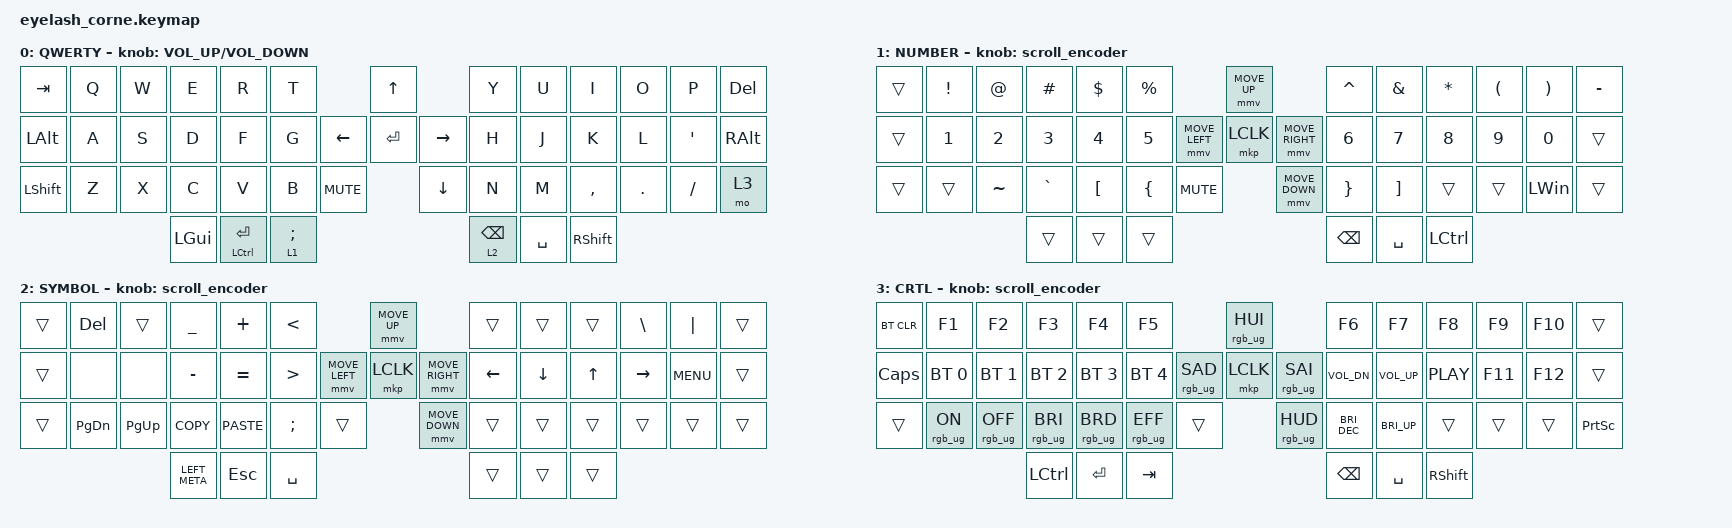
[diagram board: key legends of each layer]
#include <dt-bindings/zmk/mouse.h>
#include <input/processors.dtsi>
#include <behaviors.dtsi>
#include <dt-bindings/zmk/bt.h>
#include <dt-bindings/zmk/keys.h>
#include <dt-bindings/zmk/pointing.h>
#include <dt-bindings/zmk/rgb.h>

/*

   &mmv_input_listener {
       input-processors = <&zip_xy_scaler 2 1>;
   };

   &msc_input_listener {
       input-processors = <&zip_xy_scaler 2 1>;
   };

 */

#define ZMK_MOUSE_DEFAULT_MOVE_VAL 1200  // 600
#define ZMK_MOUSE_DEFAULT_SCRL_VAL 20    // 10

/ {
    behaviors {
        td0: td0 {
            compatible = "zmk,behavior-tap-dance";
            display-name = "Shift/Caps Lock Tap Dance";
            #binding-cells = <0>;
            bindings = <&kp LEFT_SHIFT>, <&kp CAPS>;
        };

        lthp: lthp {
            compatible = "zmk,behavior-hold-tap";
            label = "Layer/Tap Hold prefered";
            bindings = <&mo>, <&kp>;

            #binding-cells = <2>;
            tapping-term-ms = <200>;
        };

        ltba: ltba {
            compatible = "zmk,behavior-hold-tap";
            label = "Layer/tap balanced";
            bindings = <&mo>, <&kp>;

            #binding-cells = <2>;
            tapping-term-ms = <200>;
            flavor = "balanced";
        };

        mo_right_hand: mo_right_hand {
            compatible = "zmk,behavior-hold-tap";
            label = "MO_RIGHT_HAND";
            bindings = <&mo>, <&kp>;

            #binding-cells = <2>;
            tapping-term-ms = <130>;
            flavor = "tap-preferred";
            quick-tap-ms = <100>;
            require-prior-idle-ms = <80>;
            hold-trigger-key-positions = <16 17 18 5 4 3>;
        };
    };

    rgb_encoder: rgb_encoder {
        compatible = "zmk,behavior-sensor-rotate";
        #sensor-binding-cells = <0>;
        bindings = <&rgb_ug RGB_BRI>, <&rgb_ug RGB_BRD>;
    };

    scroll_encoder: scroll_encoder {
        compatible = "zmk,behavior-sensor-rotate";
        #sensor-binding-cells = <0>;
        bindings = <&msc SCRL_DOWN>, <&msc SCRL_UP>;

        tap-ms = <30>;
    };

    combos {
        compatible = "zmk,combos";

        workspaces_work {
            bindings = <&workspaces_work>;
            key-positions = <44 45>;
        };

        workspaces_fun {
            bindings = <&workspaces_fun>;
            key-positions = <42 47>;
        };
    };

    macros {
        workspaces_work: workspaces {
            compatible = "zmk,behavior-macro";
            #binding-cells = <0>;
            bindings = <&kp LA(NUMBER_3) &kp LA(NUMBER_2) &kp C_STOP>;
            label = "WORKSPACES";
            wait-ms = <50>;
            tap-ms = <50>;
        };

        workspaces_fun: workspaces_fun {
            compatible = "zmk,behavior-macro";
            #binding-cells = <0>;
            bindings = <&kp LA(NUMBER_6) &kp LA(N5)>;
            label = "WORKSPACES_FUN";
            wait-ms = <50>;
            tap-ms = <50>;
        };
    };

    keymap {
        compatible = "zmk,keymap";

        default_layer {
            display-name = "QWERTY";
            bindings = <
&kp TAB    &kp Q  &kp W  &kp E     &kp R                   &kp T                                 &kp UP                &kp Y              &kp U      &kp I            &kp O    &kp P             &kp DELETE
&kp LALT   &kp A  &kp S  &kp D     &kp F                   &kp G                       &kp LEFT  &kp ENTER  &kp RIGHT  &kp H              &kp J      &kp K            &kp L    &kp SINGLE_QUOTE  &kp RIGHT_ALT
&kp LSHFT  &kp Z  &kp X  &kp C     &kp V                   &kp B         &kp C_MUTE              &kp DOWN              &kp N              &kp M      &kp COMMA        &kp DOT  &kp FSLH          &mo 3
                         &kp LGUI  &mt LEFT_CONTROL ENTER  &lthp 1 SEMI                                                &lthp 2 BACKSPACE  &kp SPACE  &kp RIGHT_SHIFT
            >;

            sensor-bindings = <&inc_dec_kp C_VOLUME_UP C_VOLUME_DOWN>;
        };

        lower_layer {
            display-name = "NUMBER";
            bindings = <
&trans  &kp EXCLAMATION  &kp AT_SIGN  &kp POUND  &kp DOLLAR        &kp PERCENT                                   &mmv MOVE_UP                     &kp CARET        &kp AMPERSAND      &kp ASTERISK  &kp LEFT_PARENTHESIS  &kp RIGHT_PARENTHESIS  &kp MINUS
&trans  &kp N1           &kp N2       &kp N3     &kp N4            &kp N5                        &mmv MOVE_LEFT  &mkp LCLK       &mmv MOVE_RIGHT  &kp N6           &kp N7             &kp N8        &kp N9                &kp N0                 &trans
&trans  &trans           &kp TILDE    &kp GRAVE  &kp LEFT_BRACKET  &kp LEFT_BRACE  &kp C_MUTE                    &mmv MOVE_DOWN                   &kp RIGHT_BRACE  &kp RIGHT_BRACKET  &trans        &trans                &kp LEFT_WIN           &trans
                                      &trans     &trans            &trans                                                                         &kp BACKSPACE    &kp SPACE          &kp LCTRL
            >;

            sensor-bindings = <&scroll_encoder>;
        };

        raise_layer {
            display-name = "SYMBOL";
            bindings = <
&trans  &kp DELETE     &trans       &kp UNDERSCORE  &kp PLUS     &kp LESS_THAN                               &mmv MOVE_UP                     &trans    &trans    &trans  &kp BACKSLASH  &kp PIPE    &trans
&trans  &none          &none        &kp MINUS       &kp EQUAL    &kp GREATER_THAN            &mmv MOVE_LEFT  &mkp LCLK       &mmv MOVE_RIGHT  &kp LEFT  &kp DOWN  &kp UP  &kp RIGHT      &kp K_MENU  &trans
&trans  &kp PAGE_DOWN  &kp PAGE_UP  &kp K_COPY      &kp K_PASTE  &kp SEMICOLON     &trans                    &mmv MOVE_DOWN                   &trans    &trans    &trans  &trans         &trans      &trans
                                    &kp LEFT_META   &kp ESCAPE   &kp SPACE                                                                    &trans    &trans    &trans
            >;

            sensor-bindings = <&scroll_encoder>;
        };

        layer_3 {
            display-name = "CRTL";
            bindings = <
&bt BT_CLR  &kp F1          &kp F2           &kp F3           &kp F4           &kp F5                                      &rgb_ug RGB_HUI                   &kp F6         &kp F7        &kp F8      &kp F9   &kp F10  &trans
&kp CAPS    &bt BT_SEL 0    &bt BT_SEL 1     &bt BT_SEL 2     &bt BT_SEL 3     &bt BT_SEL 4               &rgb_ug RGB_SAD  &mkp LCLK        &rgb_ug RGB_SAI  &kp C_VOL_DN   &kp C_VOL_UP  &kp C_PLAY  &kp F11  &kp F12  &trans
&trans      &rgb_ug RGB_ON  &rgb_ug RGB_OFF  &rgb_ug RGB_BRI  &rgb_ug RGB_BRD  &rgb_ug RGB_EFF  &trans                     &rgb_ug RGB_HUD                   &kp C_BRI_DEC  &kp C_BRI_UP  &trans      &trans   &trans   &kp PRINTSCREEN
                                             &kp LCTRL        &kp ENTER        &kp TAB                                                                       &kp BSPC       &kp SPACE     &kp RSHFT
            >;

            sensor-bindings = <&scroll_encoder>;
        };
    };
};
